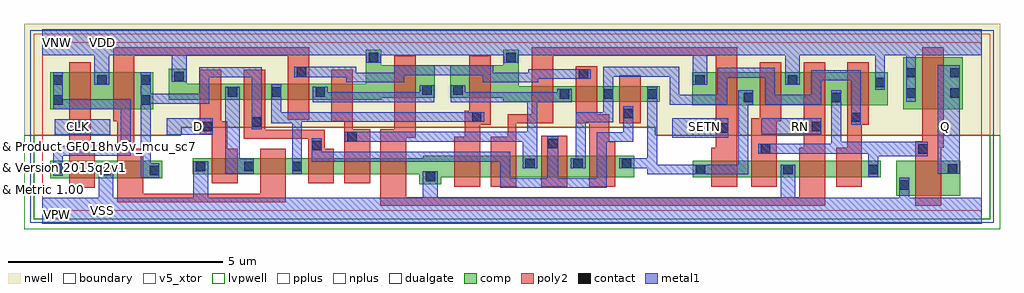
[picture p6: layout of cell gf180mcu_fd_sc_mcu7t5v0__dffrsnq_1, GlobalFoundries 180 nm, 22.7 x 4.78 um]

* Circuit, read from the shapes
.subckt gf180mcu_fd_sc_mcu7t5v0__dffrsnq_1 CLK D Q RN SETN VDD VNW VSS
XM1 VSS CLK n1 VSUBS nfet_05v0 w=0.405u l=0.6u
XM2 n2 n1 VSS VSUBS nfet_05v0 w=0.405u l=0.6u
XM3 n3 D VSS VSUBS nfet_05v0 w=0.365u l=0.6u
XM4 n4 n1 n3 VSUBS nfet_05v0 w=0.365u l=0.6u
XM5 n5 n2 n4 VSUBS nfet_05v0 w=0.365u l=0.6u
XM6 n6 n7 n5 VSUBS nfet_05v0 w=0.365u l=0.6u
XM7 VSS RN n6 VSUBS nfet_05v0 w=0.365u l=0.6u
XM8 n8 n4 VSS VSUBS nfet_05v0 w=0.505u l=0.6u
XM9 n7 SETN n8 VSUBS nfet_05v0 w=0.505u l=0.6u
XM10 n9 n2 n7 VSUBS nfet_05v0 w=0.505u l=0.6u
XM11 n10 n1 n9 VSUBS nfet_05v0 w=0.505u l=0.6u
XM12 n11 SETN n10 VSUBS nfet_05v0 w=0.38u l=0.6u
XM13 VSS n12 n11 VSUBS nfet_05v0 w=0.38u l=0.6u
XM14 n13 RN VSS VSUBS nfet_05v0 w=0.38u l=0.6u
XM15 n12 n9 n13 VSUBS nfet_05v0 w=0.38u l=0.6u
XM16 Q n12 VSS VSUBS nfet_05v0 w=0.815u l=0.6u
XM17 VDD CLK n1 VNW pfet_05v0 w=0.865u l=0.5u
XM18 n2 n1 VDD VNW pfet_05v0 w=0.865u l=0.5u
XM19 n3 D VDD VNW pfet_05v0 w=0.365u l=0.5u
XM20 n4 n2 n3 VNW pfet_05v0 w=0.365u l=0.5u
XM21 n14 n1 n4 VNW pfet_05v0 w=0.365u l=0.5u
XM22 VDD n7 n14 VNW pfet_05v0 w=0.365u l=0.5u
XM23 n14 RN VDD VNW pfet_05v0 w=0.755u l=0.5u
XM24 VDD n4 n7 VNW pfet_05v0 w=0.755u l=0.5u
XM25 n7 SETN VDD VNW pfet_05v0 w=0.36u l=0.5u
XM26 n9 n1 n7 VNW pfet_05v0 w=0.36u l=0.5u
XM27 n10 n2 n9 VNW pfet_05v0 w=0.36u l=0.5u
XM28 n10 SETN VDD VNW pfet_05v0 w=0.77u l=0.5u
XM29 VDD n12 n10 VNW pfet_05v0 w=0.77u l=0.5u
XM30 n12 RN VDD VNW pfet_05v0 w=0.77u l=0.5u
XM31 VDD n9 n12 VNW pfet_05v0 w=0.77u l=0.5u
XM32 Q n12 VDD VNW pfet_05v0 w=1.215u l=0.5u
.ends

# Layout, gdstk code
import gdstk
lib = gdstk.Library(unit=1e-6, precision=1e-09)
def R(c, l, rs):  # rectangles x0, y0, x1, y1
    for r in rs: c.add(gdstk.rectangle(r[:2], r[2:], *l))
def A(c, l, x, y, w, h, nx, ny, dx, dy):  # array of equal rectangles
    R(c, l, [(x+i*dx, y+j*dy, x+i*dx+w, y+j*dy+h) for i in range(nx) for j in range(ny)])
def P(c, l, *ps):  # polygons
    for p in ps: c.add(gdstk.Polygon(p, *l))
boundary = (0, 0)
nwell = (21, 0)
comp = (22, 0)
poly2 = (30, 0)
pplus = (31, 0)
nplus = (32, 0)
contact = (33, 0)
metal1 = (34, 0)
dualgate = (55, 0)
v5_xtor = (112, 1)
lvpwell = (204, 0)

gf180mcu_fd_sc_mcu7t5v0_ = lib.new_cell('gf180mcu_fd_sc_mcu7t5v0__dffrsnq_1')
R(gf180mcu_fd_sc_mcu7t5v0_, boundary, [(0,0,21.84,3.92)])
P(gf180mcu_fd_sc_mcu7t5v0_, nwell, [(-0.43,1.76),(-0.43,4.35),(22.27,4.35),(22.27,1.76),(14.255,1.76),(14.255,1.94),(3.225,1.94),(3.225,1.76)])
R(gf180mcu_fd_sc_mcu7t5v0_, comp, [(19.86,0.345,21.34,1.16), (0.18,0.755,2.78,1.16), (15.12,0.78,19.5,1.16), (0.18,2.36,2.58,3.225), (20.02,2.36,21.4,3.575), (15.115,2.455,19.66,3.225)])
P(gf180mcu_fd_sc_mcu7t5v0_, comp, [(10.72,2.54),(10.72,2.63),(9.48,2.63),(9.48,3.385),(10.72,3.385),(10.72,3.74),(11.08,3.74),(11.08,2.9),(14.36,2.9),(14.36,2.54)],
  [(8.76,0.62),(8.76,0.855),(3.5,0.855),(3.5,1.22),(8.855,1.22),(8.855,1.285),(13.76,1.285),(13.76,0.78),(9.28,0.78),(9.28,0.62)],
  [(2.94,2.585),(2.94,3.3),(3.36,3.3),(3.36,2.95),(7.52,2.95),(7.52,3.74),(7.88,3.74),(7.88,3.385),(9.12,3.385),(9.12,2.63),(7.88,2.63),(7.88,2.585)])
R(gf180mcu_fd_sc_mcu7t5v0_, poly2, [(11.6,0.56,12.2,1.745), (13.42,2.035,13.92,3.15)])
P(gf180mcu_fd_sc_mcu7t5v0_, poly2, [(20.3,0.12),(20.3,1.62),(20.46,1.62),(20.46,3.8),(20.96,3.8),(20.96,1.46),(20.9,1.46),(20.9,0.12)],
  [(18.46,0.56),(18.46,1.465),(18.72,1.465),(18.72,3.45),(19.22,3.45),(19.22,1.995),(19.06,1.995),(19.06,0.56)],
  [(7.86,0.12),(7.86,1.9),(8.18,1.9),(8.18,3.605),(8.68,3.605),(8.68,1.7),(8.46,1.7),(8.46,0.32),(17.6,0.32),(17.6,1.465),(17.7,1.465),(17.7,3.45),(18.2,3.45),(18.2,0.12)],
  [(16.48,0.56),(16.48,2.155),(16.68,2.155),(16.68,3.45),(17.18,3.45),(17.18,2.08),(17.08,2.08),(17.08,0.56)],
  [(10.42,0.56),(10.42,1.72),(10.82,1.72),(10.82,2.24),(11.38,2.24),(11.38,3.8),(16.16,3.8),(16.16,0.56),(15.56,0.56),(15.56,1.465),(15.66,1.465),(15.66,3.6),(11.88,3.6),(11.88,2.04),(11.02,2.04),(11.02,0.56)],
  [(12.72,0.56),(12.72,2.04),(12.4,2.04),(12.4,3.36),(12.9,3.36),(12.9,2.24),(13.18,2.24),(13.18,1.605),(13.32,1.605),(13.32,0.56)],
  [(7.02,0.635),(7.02,2.08),(6.72,2.08),(6.72,3.28),(7.22,3.28),(7.22,1.9),(7.62,1.9),(7.62,0.635)],
  [(1.74,0.195),(1.74,2.08),(1.64,2.08),(1.64,3.8),(6.2,3.8),(6.2,2.12),(5.7,2.12),(5.7,3.6),(2.14,3.6),(2.14,1.44),(2.34,1.44),(2.34,0.395),(5.06,0.395),(5.06,1.44),(5.66,1.44),(5.66,0.195)],
  [(9.58,0.56),(9.58,1.72),(9.82,1.72),(9.82,2.33),(9.92,2.33),(9.92,3.605),(10.42,3.605),(10.42,2),(10.18,2),(10.18,0.56)],
  [(3.94,0.635),(3.94,1.78),(3.66,1.78),(3.66,3.28),(4.16,3.28),(4.16,2.08),(4.3,2.08),(4.3,1.44),(4.54,1.44),(4.54,0.635)],
  [(6.18,0.635),(6.18,1.68),(4.68,1.68),(4.68,3.28),(5.18,3.28),(5.18,1.88),(6.56,1.88),(6.56,1.44),(6.78,1.44),(6.78,0.635)],
  [(0.62,0.535),(0.62,3.45),(1.12,3.45),(1.12,1.44),(1.22,1.44),(1.22,0.535)])
P(gf180mcu_fd_sc_mcu7t5v0_, pplus, [(-0.2,1.76),(-0.2,4.12),(22.04,4.12),(22.04,1.76),(14.255,1.76),(14.255,1.94),(3.225,1.94),(3.225,1.76)])
P(gf180mcu_fd_sc_mcu7t5v0_, nplus, [(-0.2,-0.2),(-0.2,1.76),(3.225,1.76),(3.225,1.94),(14.255,1.94),(14.255,1.76),(22.04,1.76),(22.04,-0.2)])
A(gf180mcu_fd_sc_mcu7t5v0_, contact, 3.57, 0.925, 0.22, 0.22, 3, 1, 1.12, 0)
A(gf180mcu_fd_sc_mcu7t5v0_, contact, 11.23, 0.995, 0.22, 0.22, 3, 1, 1.12, 0)
A(gf180mcu_fd_sc_mcu7t5v0_, contact, 12.03, 2.61, 0.22, 0.22, 3, 1, 1.02, 0)
A(gf180mcu_fd_sc_mcu7t5v0_, contact, 4.31, 2.655, 0.22, 0.22, 3, 1, 1.02, 0)
A(gf180mcu_fd_sc_mcu7t5v0_, contact, 0.25, 2.935, 0.22, 0.22, 3, 1, 1.02, 0)
R(gf180mcu_fd_sc_mcu7t5v0_, contact, [(19.93,0.485,20.15,0.705), (8.91,0.69,9.13,0.91), (1.37,0.825,1.59,1.045), (2.49,0.825,2.71,1.045), (15.19,0.85,15.41,1.07), (17.23,0.85,17.45,1.07), (19.21,0.85,19.43,1.07), (21.05,0.865,21.27,1.085), (0.25,0.87,0.47,1.09), (16.705,1.33,16.925,1.55), (20.37,1.33,20.59,1.55), (1.83,1.405,2.05,1.625), (6.27,1.405,6.49,1.625), (11.765,1.455,11.985,1.675), (7.09,1.61,7.31,1.83), (15.73,1.82,15.95,2.04), (0.73,1.85,0.95,2.07), (3.73,1.85,3.95,2.07), (17.89,1.85,18.11,2.07), (4.87,1.955,5.09,2.175), (18.81,2.065,19.03,2.285), (9.99,2.07,10.21,2.29), (13.51,2.15,13.73,2.37), (0.25,2.465,0.47,2.685), (2.29,2.465,2.51,2.685), (16.31,2.525,16.53,2.745), (18.35,2.525,18.57,2.745), (20.09,2.63,20.31,2.85), (21.11,2.63,21.33,2.85), (8.83,2.7,9.05,2.92), (9.55,2.7,9.77,2.92), (19.37,2.87,19.59,3.09), (15.185,2.935,15.405,3.155), (17.33,2.935,17.55,3.155), (3.07,3.01,3.29,3.23), (12.47,3.07,12.69,3.29), (20.09,3.1,20.31,3.32), (21.11,3.1,21.33,3.32), (5.91,3.12,6.13,3.34), (7.59,3.45,7.81,3.67), (10.79,3.45,11.01,3.67)])
R(gf180mcu_fd_sc_mcu7t5v0_, metal1, [(20.825,0.86,21.335,3.38), (14.65,1.7,15.955,2.15), (0.28,1.77,1.575,2.13), (2.89,1.77,3.96,2.15), (16.715,1.785,18.115,2.15)])
P(gf180mcu_fd_sc_mcu7t5v0_, metal1, [(0,-0.3),(0,0.3),(1.31,0.3),(1.31,1.05),(1.65,1.05),(1.65,0.3),(3.51,0.3),(3.51,1.15),(3.85,1.15),(3.85,0.3),(8.85,0.3),(8.85,0.915),(9.19,0.915),(9.19,0.3),(17.17,0.3),(17.17,1.075),(17.51,1.075),(17.51,0.3),(19.925,0.3),(19.925,0.765),(20.155,0.765),(20.155,0.3),(21.84,0.3),(21.84,-0.3)],
  [(20.085,2.53),(20.085,3.62),(19.595,3.62),(19.595,2.81),(19.365,2.81),(19.365,3.62),(17.61,3.62),(17.61,2.93),(17.27,2.93),(17.27,3.62),(15.465,3.62),(15.465,2.93),(15.125,2.93),(15.125,3.62),(11.07,3.62),(11.07,3.445),(10.73,3.445),(10.73,3.62),(7.87,3.62),(7.87,3.445),(7.53,3.445),(7.53,3.62),(3.35,3.62),(3.35,3.005),(3.01,3.005),(3.01,3.62),(1.555,3.62),(1.555,2.93),(1.205,2.93),(1.205,3.62),(0,3.62),(0,4.22),(21.84,4.22),(21.84,3.62),(20.315,3.62),(20.315,2.53)],
  [(12.29,0.99),(12.29,1.22),(12.4,1.22),(12.4,2.295),(13.045,2.295),(13.045,3.355),(14.815,3.355),(14.815,2.7),(15.695,2.7),(15.695,3.325),(17.035,3.325),(17.035,2.7),(17.885,2.7),(17.885,3.27),(19.035,3.27),(19.035,2.005),(18.805,2.005),(18.805,3.035),(18.115,3.035),(18.115,2.465),(16.805,2.465),(16.805,3.09),(15.925,3.09),(15.925,2.465),(14.585,2.465),(14.585,3.12),(13.275,3.12),(13.275,2.06),(12.63,2.06),(12.63,0.99)],
  [(14.065,0.845),(14.065,0.99),(13.41,0.99),(13.41,1.22),(14.065,1.22),(14.065,2.89),(14.295,2.89),(14.295,1.075),(16.185,1.075),(16.185,2.805),(16.535,2.805),(16.535,2.465),(16.415,2.465),(16.415,0.845)],
  [(10.65,0.53),(10.65,1.145),(6.265,1.145),(6.265,1.685),(6.495,1.685),(6.495,1.375),(10.88,1.375),(10.88,0.76),(11.745,0.76),(11.745,1.735),(12,1.735),(12,0.76),(12.895,0.76),(12.895,1.83),(13.505,1.83),(13.505,2.43),(13.735,2.43),(13.735,1.6),(13.125,1.6),(13.125,0.53)],
  [(11.17,0.99),(11.17,1.605),(7.03,1.605),(7.03,1.835),(11.28,1.835),(11.28,2.525),(9.49,2.525),(9.49,2.925),(9.83,2.925),(9.83,2.755),(11.97,2.755),(11.97,2.835),(12.31,2.835),(12.31,2.525),(11.51,2.525),(11.51,0.99)],
  [(7.07,2.985),(7.07,3.11),(5.85,3.11),(5.85,3.345),(7.3,3.345),(7.3,3.215),(8.18,3.215),(8.18,3.39),(10.48,3.39),(10.48,3.215),(11.3,3.215),(11.3,3.295),(12.75,3.295),(12.75,3.065),(11.53,3.065),(11.53,2.985),(10.245,2.985),(10.245,3.155),(8.41,3.155),(8.41,2.985)],
  [(5.805,0.865),(5.805,2.04),(5.325,2.04),(5.325,2.94),(5.555,2.94),(5.555,2.295),(10.27,2.295),(10.27,2.065),(6.035,2.065),(6.035,0.865)],
  [(6.29,2.525),(6.29,2.88),(6.63,2.88),(6.63,2.755),(8.77,2.755),(8.77,2.925),(9.11,2.925),(9.11,2.525)],
  [(19.205,0.79),(19.205,1.325),(16.645,1.325),(16.645,1.555),(18.345,1.555),(18.345,2.805),(18.575,2.805),(18.575,1.61),(20.595,1.61),(20.595,1.27),(19.435,1.27),(19.435,0.79)],
  [(4.25,0.865),(4.25,2.88),(4.59,2.88),(4.59,1.205),(4.915,1.205),(4.915,0.865)],
  [(2.285,0.765),(2.285,3.225),(2.515,3.225),(2.515,2.725),(3.65,2.725),(3.65,3.34),(5.095,3.34),(5.095,1.895),(4.865,1.895),(4.865,3.11),(3.88,3.11),(3.88,2.49),(2.515,2.49),(2.515,1.105),(2.715,1.105),(2.715,0.765)],
  [(0.245,0.81),(0.245,1.51),(1.825,1.51),(1.825,2.36),(0.245,2.36),(0.245,3.225),(0.475,3.225),(0.475,2.59),(2.055,2.59),(2.055,1.28),(0.475,1.28),(0.475,0.81)])
R(gf180mcu_fd_sc_mcu7t5v0_, dualgate, [(-0.28,-0.28,22.12,4.2)])
R(gf180mcu_fd_sc_mcu7t5v0_, v5_xtor, [(0,0,21.84,3.92)])
P(gf180mcu_fd_sc_mcu7t5v0_, lvpwell, [(-0.43,-0.43),(-0.43,1.76),(3.225,1.76),(3.225,1.94),(14.255,1.94),(14.255,1.76),(22.27,1.76),(22.27,-0.43)])
gf180mcu_fd_sc_mcu7t5v0_.add(gdstk.Label('VDD', (1.4,3.92), layer=34, texttype=10))
gf180mcu_fd_sc_mcu7t5v0_.add(gdstk.Label('SETN', (15.4,1.96), layer=34, texttype=10))
gf180mcu_fd_sc_mcu7t5v0_.add(gdstk.Label('VSS', (1.4,0), layer=34, texttype=10))
gf180mcu_fd_sc_mcu7t5v0_.add(gdstk.Label('CLK', (0.84,1.96), layer=34, texttype=10))
gf180mcu_fd_sc_mcu7t5v0_.add(gdstk.Label('Q', (21,1.96), layer=34, texttype=10))
gf180mcu_fd_sc_mcu7t5v0_.add(gdstk.Label('D', (3.64,1.96), layer=34, texttype=10))
gf180mcu_fd_sc_mcu7t5v0_.add(gdstk.Label('RN', (17.64,1.96), layer=34, texttype=10))
gf180mcu_fd_sc_mcu7t5v0_.add(gdstk.Label('& Metric 1.00', (0,0.5), layer=63, texttype=63))
gf180mcu_fd_sc_mcu7t5v0_.add(gdstk.Label('& Version 2015q2v1', (0,1), layer=63, texttype=63))
gf180mcu_fd_sc_mcu7t5v0_.add(gdstk.Label('& Product GF018hv5v_mcu_sc7', (0,1.5), layer=63, texttype=63))
gf180mcu_fd_sc_mcu7t5v0_.add(gdstk.Label('& Vendor GLOBALFOUNDRIES', (0,2), layer=63, texttype=63))
gf180mcu_fd_sc_mcu7t5v0_.add(gdstk.Label('VNW', (0.345,3.92), layer=21, texttype=10))
gf180mcu_fd_sc_mcu7t5v0_.add(gdstk.Label('VPW', (0.34,-0.085), layer=204, texttype=10))

lib.write_gds('gf180mcu_fd_sc_mcu7t5v0__dffrsnq_1.gds')
